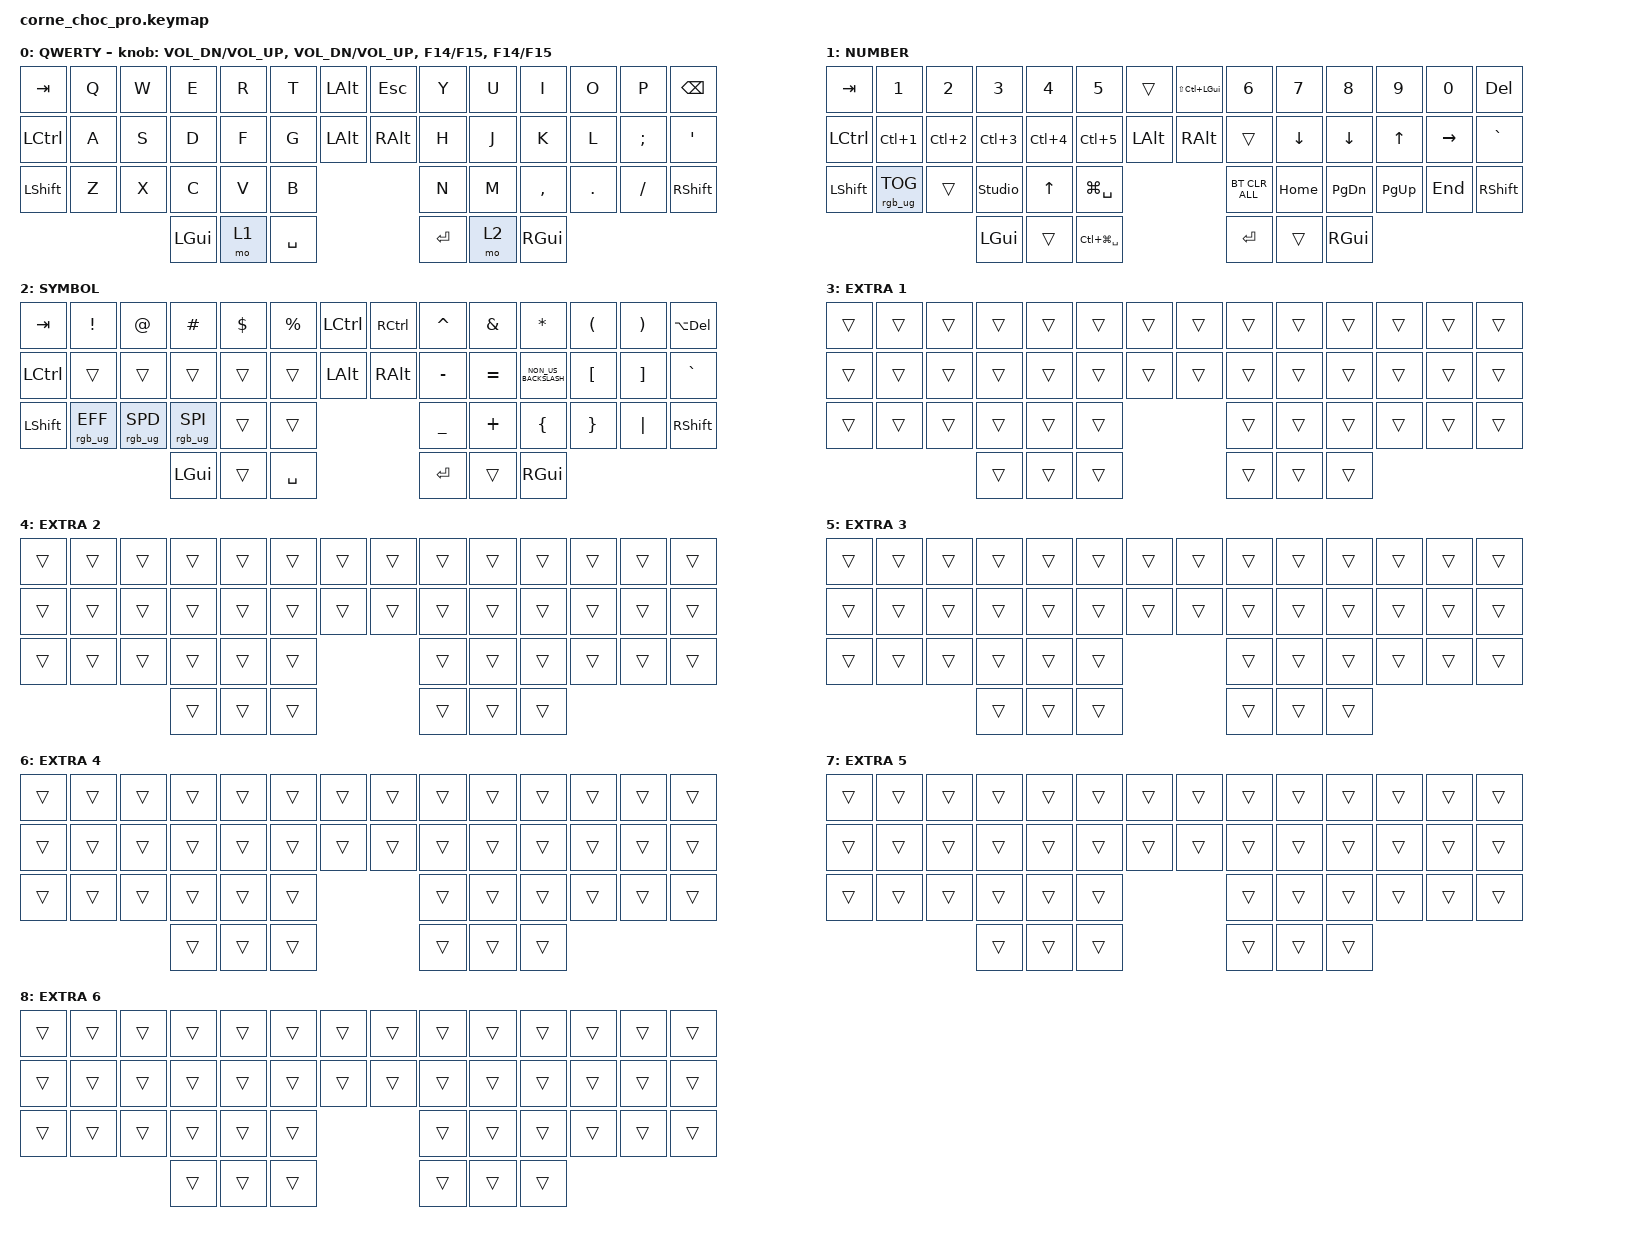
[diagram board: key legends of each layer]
/*
 * Copyright (c) 2020 The ZMK Contributors
 *
 * SPDX-License-Identifier: MIT
 */

#include <behaviors.dtsi>
#include <dt-bindings/zmk/bt.h>
#include <dt-bindings/zmk/keys.h>
#include <dt-bindings/zmk/rgb.h>

/ {
    chosen { zmk,physical-layout = &default_layout; };
};

/ {
    keymap {
        compatible = "zmk,keymap";

        default_layer {
            display-name = "QWERTY";

            // --------------------------------------------------------------------------------
            // |  TAB |  Q  |  W  |  E  |  R  |  T  |  MUTE |  PP   |  Y  |  U   |  I  |  O  |  P  | BSPC |
            // | CTRL |  A  |  S  |  D  |  F  |  G  |  LALT |  RALT |  H  |  J   |  K  |  L  |  ;  |  '   |
            // | SHFT |  Z  |  X  |  C  |  V  |  B  |               |  N  |  M   |  ,  |  .  |  /  | ESC  |
            //                    | GUI | LWR | SPC |               | ENT | RSE  | ALT |

            bindings = <
&kp TAB    &kp Q  &kp W  &kp E     &kp R  &kp T      &kp LEFT_ALT  &kp ESC   &kp Y    &kp U  &kp I          &kp O    &kp P     &kp BSPC
&kp LCTRL  &kp A  &kp S  &kp D     &kp F  &kp G      &kp LALT      &kp RALT  &kp H    &kp J  &kp K          &kp L    &kp SEMI  &kp SQT
&kp LSHFT  &kp Z  &kp X  &kp C     &kp V  &kp B                              &kp N    &kp M  &kp COMMA      &kp DOT  &kp FSLH  &kp RIGHT_SHIFT
                         &kp LGUI  &mo 1  &kp SPACE                          &kp RET  &mo 2  &kp RIGHT_GUI
            >;

            sensor-bindings =
                <&inc_dec_kp C_VOL_DN C_VOL_UP>,
                <&inc_dec_kp C_VOL_DN C_VOL_UP>,
                <&inc_dec_kp F14 F15>,
                <&inc_dec_kp F14 F15>;
        };

        lower_layer {
            display-name = "NUMBER";

            // -----------------------------------------------------------------------------------------
            // |  TAB |  1  |  2  |  3  |  4  |  5    |  LCTRL | RCTRL |  6  |  7  |  8  |  9  |  0  | BSPC |
            // | CTRL | BT1 | BT2 | BT3 | BT4 | BT5   |  LALT  | RALT  | LFT | DWN |  UP | RGT |     |      |
            // | SHFT | BTCR| RGB | RST | BOOT| Unlock|        |       |     |     |     |     |     |      |
            //                    | GUI |     | SPC   |        | ENT   |     | ALT |

            bindings = <
&kp TAB    &kp N1            &kp N2            &kp N3            &kp N4            &kp N5             &trans    &kp LS(LC(LEFT_GUI))  &kp N6          &kp N7    &kp N8          &kp N9        &kp N0           &kp DEL
&kp LCTRL  &kp LC(NUMBER_1)  &kp LC(NUMBER_2)  &kp LC(NUMBER_3)  &kp LC(NUMBER_4)  &kp LC(N5)         &kp LALT  &kp RALT              &trans          &kp DOWN  &kp DOWN_ARROW  &kp UP_ARROW  &kp RIGHT_ARROW  &kp GRAVE
&kp LSHFT  &rgb_ug RGB_TOG   &trans            &studio_unlock    &kp UP_ARROW      &kp LG(SPACE)                                      &bt BT_CLR_ALL  &kp HOME  &kp PAGE_DOWN   &kp PAGE_UP   &kp END          &kp RIGHT_SHIFT
                                               &kp LGUI          &trans            &kp LC(LG(SPACE))                                  &kp ENTER       &trans    &kp RIGHT_GUI
            >;
        };

        raise_layer {
            display-name = "SYMBOL";

            // -----------------------------------------------------------------------------------------
            // |  TAB |  !  |  @  |  #  |  $  |  %  | LCTRL | RCTRL |  ^  |  &  |  *  |  (  |  )  | BSPC |
            // | CTRL |     |     |     |     |     |  LALT | RALT  |  -  |  =  |  [  |  ]  |  \  |  `   |
            // | SHFT |     |     |     |     |     |               |  _  |  +  |  {  |  }  | "|" |  ~   |
            //                    | GUI |     | SPC |               | ENT |     | ALT |

            bindings = <
&kp TAB    &kp EXCL         &kp AT           &kp HASH         &kp DLLR  &kp PRCNT  &kp LCTRL  &kp RCTRL  &kp CARET  &kp AMPS   &kp ASTRK             &kp LPAR  &kp RPAR  &kp LA(DELETE)
&kp LCTRL  &trans           &trans           &trans           &trans    &trans     &kp LALT   &kp RALT   &kp MINUS  &kp EQUAL  &kp NON_US_BACKSLASH  &kp LBKT  &kp RBKT  &kp GRAVE
&kp LSHFT  &rgb_ug RGB_EFF  &rgb_ug RGB_SPD  &rgb_ug RGB_SPI  &trans    &trans                           &kp UNDER  &kp PLUS   &kp LBRC              &kp RBRC  &kp PIPE  &kp RIGHT_SHIFT
                                             &kp LGUI         &trans    &kp SPACE                        &kp RET    &trans     &kp RIGHT_GUI
            >;
        };

        extra_layer_1 {
            display-name = "EXTRA 1";
            bindings = <
&trans  &trans  &trans  &trans  &trans  &trans  &trans  &trans  &trans  &trans  &trans  &trans  &trans  &trans
&trans  &trans  &trans  &trans  &trans  &trans  &trans  &trans  &trans  &trans  &trans  &trans  &trans  &trans
&trans  &trans  &trans  &trans  &trans  &trans                  &trans  &trans  &trans  &trans  &trans  &trans
                        &trans  &trans  &trans                  &trans  &trans  &trans
            >;
        };

        extra_layer_2 {
            display-name = "EXTRA 2";
            bindings = <
&trans  &trans  &trans  &trans  &trans  &trans  &trans  &trans  &trans  &trans  &trans  &trans  &trans  &trans
&trans  &trans  &trans  &trans  &trans  &trans  &trans  &trans  &trans  &trans  &trans  &trans  &trans  &trans
&trans  &trans  &trans  &trans  &trans  &trans                  &trans  &trans  &trans  &trans  &trans  &trans
                        &trans  &trans  &trans                  &trans  &trans  &trans
            >;
        };

        extra_layer_3 {
            display-name = "EXTRA 3";
            bindings = <
&trans  &trans  &trans  &trans  &trans  &trans  &trans  &trans  &trans  &trans  &trans  &trans  &trans  &trans
&trans  &trans  &trans  &trans  &trans  &trans  &trans  &trans  &trans  &trans  &trans  &trans  &trans  &trans
&trans  &trans  &trans  &trans  &trans  &trans                  &trans  &trans  &trans  &trans  &trans  &trans
                        &trans  &trans  &trans                  &trans  &trans  &trans
            >;
        };

        extra_layer_4 {
            display-name = "EXTRA 4";
            bindings = <
&trans  &trans  &trans  &trans  &trans  &trans  &trans  &trans  &trans  &trans  &trans  &trans  &trans  &trans
&trans  &trans  &trans  &trans  &trans  &trans  &trans  &trans  &trans  &trans  &trans  &trans  &trans  &trans
&trans  &trans  &trans  &trans  &trans  &trans                  &trans  &trans  &trans  &trans  &trans  &trans
                        &trans  &trans  &trans                  &trans  &trans  &trans
            >;
        };

        extra_layer_5 {
            display-name = "EXTRA 5";
            bindings = <
&trans  &trans  &trans  &trans  &trans  &trans  &trans  &trans  &trans  &trans  &trans  &trans  &trans  &trans
&trans  &trans  &trans  &trans  &trans  &trans  &trans  &trans  &trans  &trans  &trans  &trans  &trans  &trans
&trans  &trans  &trans  &trans  &trans  &trans                  &trans  &trans  &trans  &trans  &trans  &trans
                        &trans  &trans  &trans                  &trans  &trans  &trans
            >;
        };

        extra_layer_6 {
            display-name = "EXTRA 6";
            bindings = <
&trans  &trans  &trans  &trans  &trans  &trans  &trans  &trans  &trans  &trans  &trans  &trans  &trans  &trans
&trans  &trans  &trans  &trans  &trans  &trans  &trans  &trans  &trans  &trans  &trans  &trans  &trans  &trans
&trans  &trans  &trans  &trans  &trans  &trans                  &trans  &trans  &trans  &trans  &trans  &trans
                        &trans  &trans  &trans                  &trans  &trans  &trans
            >;
        };
    };
};
